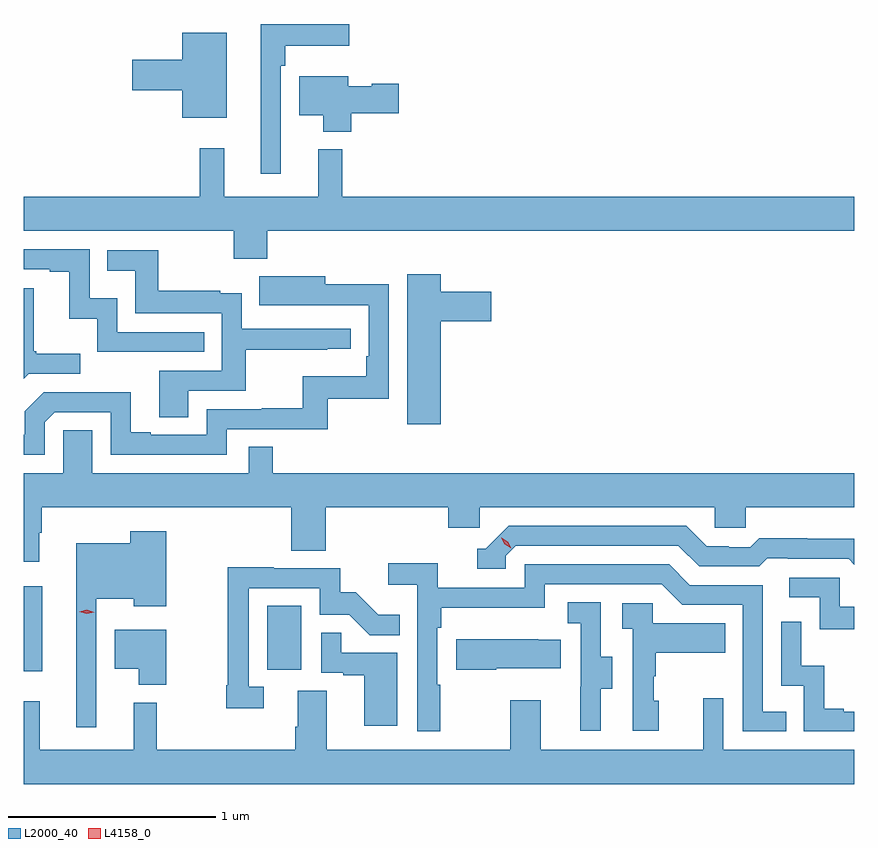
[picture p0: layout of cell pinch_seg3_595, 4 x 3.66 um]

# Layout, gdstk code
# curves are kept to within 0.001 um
import gdstk
lib = gdstk.Library(unit=1e-6, precision=1e-09)
def R(c, l, rs):  # rectangles x0, y0, x1, y1
    for r in rs: c.add(gdstk.rectangle(r[:2], r[2:], *l))
def P(c, l, *ps):  # polygons
    for p in ps: c.add(gdstk.Polygon(p, *l))
L2000_40 = (2000, 40)
L4158_0 = (4158, 0)

pinch_seg3_595 = lib.new_cell('pinch_seg3_595')
R(pinch_seg3_595, L2000_40, [(1032.39,692.135,1032.481,692.545), (1033.562,692.142,1033.726,692.449)])
P(pinch_seg3_595, L2000_40, [(1033.629,695.051),(1033.649,695.051),(1033.649,695.147),(1033.957,695.147),(1033.957,695.251),(1033.532,695.251),(1033.532,694.53),(1033.629,694.53)],
  [(1033.369,695.209),(1033.154,695.209),(1033.154,695.078),(1032.912,695.078),(1032.912,694.931),(1033.154,694.931),(1033.154,694.799),(1033.369,694.799)],
  [(1033.967,694.822),(1034.197,694.822),(1034.197,694.964),(1034.067,694.964),(1034.067,694.951),(1033.954,694.951),(1033.954,694.999),(1033.718,694.999),(1033.718,694.811),(1033.832,694.811),(1033.832,694.733),(1033.967,694.733)],
  [(1033.562,694.256),(1036.39,694.256),(1036.39,694.42),(1033.925,694.42),(1033.925,694.648),(1033.808,694.648),(1033.808,694.42),(1033.355,694.42),(1033.355,694.654),(1033.237,694.654),(1033.237,694.42),(1032.39,694.42),(1032.39,694.256),(1033.402,694.256),(1033.402,694.121),(1033.562,694.121)],
  [(1033.259,693.768),(1032.84,693.768),(1032.84,693.931),(1032.708,693.931),(1032.708,694.167),(1032.39,694.167),(1032.39,694.071),(1032.515,694.071),(1032.515,694.059),(1032.611,694.059),(1032.611,693.833),(1032.744,693.833),(1032.744,693.672),(1033.259,693.672)],
  [(1033.183,693.486),(1033.46,693.486),(1033.46,693.682),(1033.853,693.682),(1033.853,693.687),(1033.966,693.687),(1033.966,693.783),(1033.44,693.783),(1033.44,693.955),(1033.337,693.955),(1033.337,693.967),(1033.039,693.967),(1033.039,694.161),(1032.793,694.161),(1032.793,694.064),(1032.928,694.064),(1032.928,693.858),(1033.344,693.858),(1033.344,693.582),(1033.043,693.582),(1033.043,693.358),(1033.183,693.358)],
  [(1034.398,693.821),(1034.641,693.821),(1034.641,693.963),(1034.398,693.963),(1034.398,694.045),(1034.237,694.045),(1034.237,693.324),(1034.398,693.324)],
  [(1032.492,693.333),(1032.54,693.381),(1032.81,693.381),(1032.81,693.177),(1033.368,693.177),(1033.368,693.3),(1033.855,693.3),(1033.855,693.447),(1034.148,693.447),(1034.148,693.998),(1033.843,693.998),(1033.843,694.036),(1033.525,694.036),(1033.525,693.896),(1034.052,693.897),(1034.052,693.652),(1034.039,693.652),(1034.039,693.556),(1033.734,693.556),(1033.734,693.401),(1033.537,693.401),(1033.537,693.396),(1033.272,693.396),(1033.272,693.273),(1033.003,693.273),(1033.003,693.286),(1032.907,693.286),(1032.907,693.479),(1032.702,693.479),(1032.702,693.477),(1032.486,693.477),(1032.396,693.387),(1032.396,693.273),(1032.39,693.273),(1032.39,693.177),(1032.492,693.177)],
  [(1032.414,693.567),(1032.664,693.567),(1032.664,693.664),(1032.451,693.664),(1032.451,693.676),(1032.439,693.676),(1032.439,693.979),(1032.39,693.979),(1032.39,693.543)],
  [(1032.466,692.801),(1032.478,692.801),(1032.478,692.924),(1033.679,692.924),(1033.679,692.716),(1033.844,692.716),(1033.844,692.924),(1034.435,692.924),(1034.435,692.826),(1034.586,692.826),(1034.586,692.924),(1035.717,692.924),(1035.717,692.826),(1035.867,692.826),(1035.867,692.924),(1036.39,692.924),(1036.39,693.088),(1033.589,693.088),(1033.589,693.215),(1033.473,693.215),(1033.473,693.088),(1032.721,693.088),(1032.721,693.296),(1032.582,693.296),(1032.582,693.088),(1032.39,693.088),(1032.39,692.661),(1032.466,692.661)],
  [(1034.712,692.691),(1034.76,692.739),(1035.543,692.739),(1035.642,692.64),(1035.931,692.64),(1035.97,692.679),(1036.069,692.679),(1036.069,692.676),(1036.362,692.676),(1036.39,692.648),(1036.39,692.773),(1036.164,692.773),(1036.164,692.776),(1035.931,692.776),(1035.889,692.733),(1035.786,692.733),(1035.786,692.736),(1035.679,692.736),(1035.58,692.835),(1034.727,692.835),(1034.616,692.724),(1034.573,692.724),(1034.573,692.628),(1034.712,692.628)],
  [(1032.741,692.483),(1032.92,692.483),(1032.92,692.447),(1033.078,692.447),(1033.078,692.809),(1032.903,692.809),(1032.903,692.752),(1032.644,692.752),(1032.644,691.866),(1032.741,691.866)],
  [(1034.395,692.069),(1034.382,692.069),(1034.382,692.345),(1034.402,692.345),(1034.402,692.441),(1034.898,692.441),(1034.898,692.553),(1035.462,692.553),(1035.561,692.454),(1035.852,692.454),(1035.852,691.845),(1036.061,691.845),(1036.061,691.941),(1035.948,691.941),(1035.948,692.55),(1035.598,692.55),(1035.499,692.649),(1034.802,692.649),(1034.802,692.538),(1034.384,692.538),(1034.384,692.654),(1034.145,692.654),(1034.145,692.552),(1034.286,692.552),(1034.286,691.845),(1034.395,691.845)],
  [(1033.546,692.061),(1033.473,692.061),(1033.473,692.535),(1033.815,692.535),(1033.815,692.406),(1033.959,692.406),(1034.057,692.308),(1034.201,692.308),(1034.201,692.407),(1034.097,692.407),(1033.99,692.514),(1033.914,692.514),(1033.914,692.631),(1033.595,692.631),(1033.595,692.636),(1033.372,692.636),(1033.372,692.068),(1033.365,692.068),(1033.365,691.956),(1033.546,691.956)],
  [(1036.39,692.445),(1036.32,692.445),(1036.32,692.586),(1036.077,692.586),(1036.077,692.49),(1036.224,692.49),(1036.224,692.337),(1036.39,692.337)],
  [(1035.169,692.05),(1035.223,692.05),(1035.223,692.205),(1035.168,692.205),(1035.168,692.468),(1035.009,692.468),(1035.009,692.365),(1035.072,692.365),(1035.072,692.061),(1035.071,692.061),(1035.071,691.848),(1035.169,691.848)],
  [(1035.448,691.992),(1035.423,691.992),(1035.423,692.111),(1035.433,692.111),(1035.433,692.225),(1035.767,692.225),(1035.767,692.365),(1035.42,692.365),(1035.42,692.463),(1035.273,692.463),(1035.273,692.339),(1035.324,692.339),(1035.324,691.848),(1035.448,691.848)],
  [(1036.39,691.941),(1036.339,691.941),(1036.339,691.954),(1036.244,691.954),(1036.244,692.162),(1036.134,692.162),(1036.134,692.374),(1036.038,692.374),(1036.038,692.064),(1036.146,692.064),(1036.146,691.845),(1036.39,691.845)],
  [(1033.078,692.335),(1032.83,692.335),(1032.83,692.147),(1032.944,692.147),(1032.944,692.069),(1033.078,692.069)],
  [(1034.188,692.223),(1033.919,692.223),(1033.919,692.321),(1033.824,692.321),(1033.824,692.127),(1033.93,692.127),(1033.93,692.115),(1034.03,692.115),(1034.03,691.872),(1034.188,691.872)],
  [(1034.665,692.15),(1034.975,692.15),(1034.975,692.287),(1034.867,692.287),(1034.867,692.29),(1034.474,692.29),(1034.474,692.143),(1034.665,692.143)],
  [(1036.39,691.756),(1035.759,691.756),(1035.759,692.005),(1035.662,692.005),(1035.662,691.756),(1034.881,691.756),(1034.881,691.996),(1034.734,691.996),(1034.734,691.756),(1033.849,691.756),(1033.849,692.042),(1033.709,692.042),(1033.709,691.868),(1033.697,691.868),(1033.697,691.756),(1033.03,691.756),(1033.03,691.984),(1032.92,691.984),(1032.92,691.756),(1032.467,691.756),(1032.467,691.99),(1032.39,691.99),(1032.39,691.592),(1036.39,691.592)])
P(pinch_seg3_595, L4158_0, [(1034.737,692.726),(1034.706,692.746),(1034.69,692.778),(1034.69,692.778),(1034.691,692.778),(1034.721,692.759),(1034.737,692.727),(1034.737,692.726)],
  [(1032.695,692.411),(1032.659,692.422),(1032.659,692.422),(1032.659,692.422),(1032.695,692.431),(1032.731,692.42),(1032.731,692.419),(1032.731,692.419)])

lib.write_gds('pinch_seg3_595.gds')
